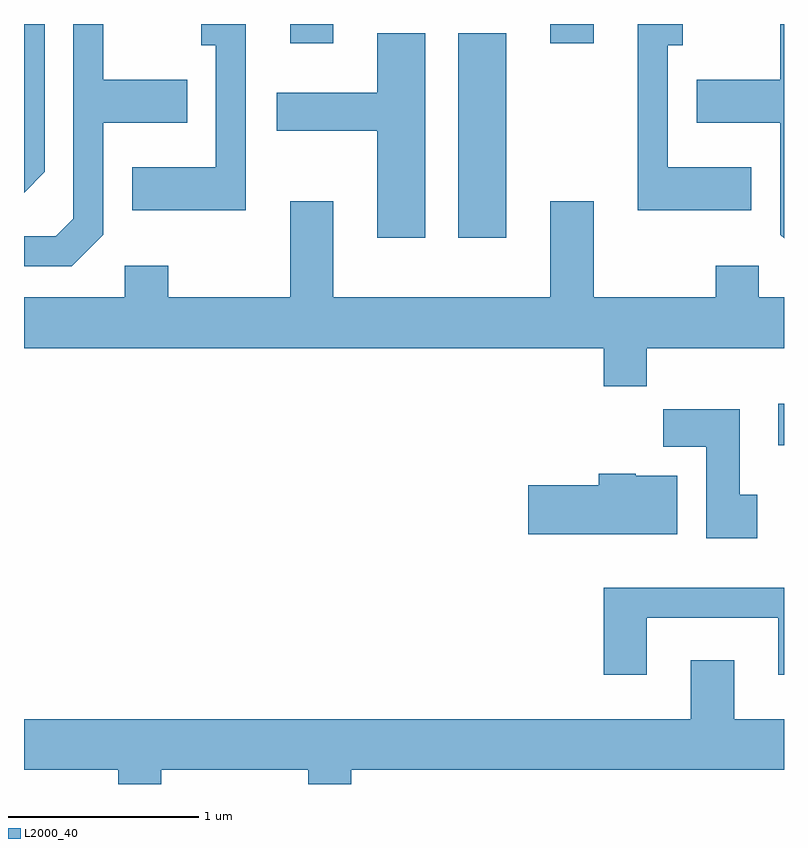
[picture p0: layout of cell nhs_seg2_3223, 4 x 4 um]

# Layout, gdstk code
import gdstk
lib = gdstk.Library(unit=1e-6, precision=1e-09)
def R(c, l, rs):  # rectangles x0, y0, x1, y1
    for r in rs: c.add(gdstk.rectangle(r[:2], r[2:], *l))
def P(c, l, *ps):  # polygons
    for p in ps: c.add(gdstk.Polygon(p, *l))
L2000_40 = (2000, 40)

nhs_seg2_3223 = lib.new_cell('nhs_seg2_3223')
R(nhs_seg2_3223, L2000_40, [(283.581,1045.586,283.611,1045.804), (281.896,1046.676,282.149,1047.754), (281.011,1047.701,281.239,1047.802), (282.381,1047.701,282.609,1047.802)])
P(nhs_seg2_3223, L2000_40, [(279.719,1047.024),(279.719,1047.802),(279.611,1047.802),(279.611,1046.915)],
  [(280.029,1046.694),(280.029,1047.281),(280.469,1047.281),(280.469,1047.509),(280.029,1047.509),(280.029,1047.802),(279.871,1047.802),(279.871,1046.777),(279.779,1046.684),(279.611,1046.684),(279.611,1046.526),(279.862,1046.526)],
  [(280.779,1047.802),(280.543,1047.802),(280.543,1047.691),(280.621,1047.691),(280.621,1047.049),(280.181,1047.049),(280.181,1046.821),(280.779,1046.821)],
  [(283.439,1047.049),(282.999,1047.049),(282.999,1047.691),(283.078,1047.691),(283.078,1047.802),(282.841,1047.802),(282.841,1046.821),(283.439,1046.821)],
  [(283.611,1047.802),(283.591,1047.802),(283.591,1047.509),(283.151,1047.509),(283.151,1047.281),(283.591,1047.281),(283.591,1046.694),(283.611,1046.674)],
  [(281.724,1047.754),(281.471,1047.754),(281.471,1047.439),(280.941,1047.439),(280.941,1047.241),(281.471,1047.241),(281.471,1046.676),(281.724,1046.676)],
  [(282.889,1046.096),(283.611,1046.096),(283.611,1046.364),(283.479,1046.364),(283.479,1046.529),(283.251,1046.529),(283.251,1046.364),(282.609,1046.364),(282.609,1046.869),(282.381,1046.869),(282.381,1046.364),(281.239,1046.364),(281.239,1046.869),(281.011,1046.869),(281.011,1046.364),(280.369,1046.364),(280.369,1046.529),(280.141,1046.529),(280.141,1046.364),(279.611,1046.364),(279.611,1046.096),(282.661,1046.096),(282.661,1045.896),(282.889,1045.896)],
  [(283.469,1045.324),(283.379,1045.324),(283.379,1045.774),(282.976,1045.774),(282.976,1045.576),(283.201,1045.576),(283.201,1045.096),(283.469,1045.096)],
  [(283.049,1045.424),(282.83,1045.424),(282.83,1045.434),(282.636,1045.434),(282.636,1045.374),(282.266,1045.374),(282.266,1045.116),(283.049,1045.116)],
  [(282.889,1044.676),(283.581,1044.676),(283.581,1044.376),(283.611,1044.376),(283.611,1044.834),(282.661,1044.834),(282.661,1044.376),(282.889,1044.376)],
  [(280.334,1043.876),(281.106,1043.876),(281.106,1043.802),(281.334,1043.802),(281.334,1043.876),(283.611,1043.876),(283.611,1044.144),(283.349,1044.144),(283.349,1044.454),(283.121,1044.454),(283.121,1044.144),(279.611,1044.144),(279.611,1043.876),(280.106,1043.876),(280.106,1043.802),(280.334,1043.802)])

lib.write_gds('nhs_seg2_3223.gds')
